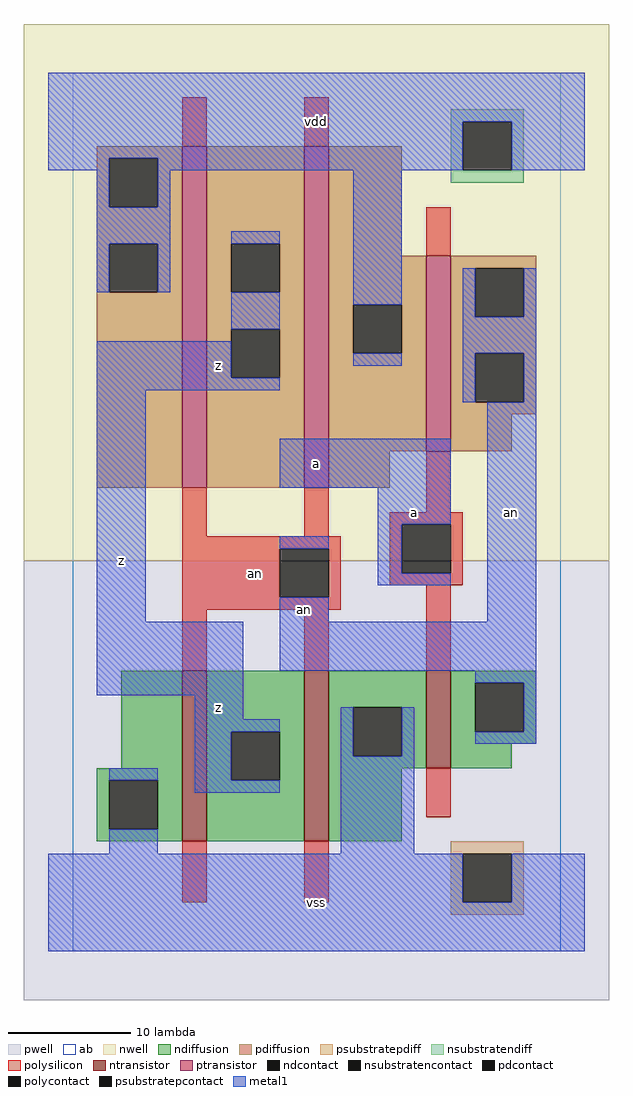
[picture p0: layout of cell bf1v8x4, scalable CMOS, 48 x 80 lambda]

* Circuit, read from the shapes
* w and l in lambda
.subckt bf1v8x4 a an vdd vss z
M1 z an vss vss nfet w=14 l=2 m=2
M2 an a vss vss nfet w=8 l=2
M3 z an vdd vdd pfet w=28 l=2 m=2
M4 an a vdd vdd pfet w=16 l=2
.ends

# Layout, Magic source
magic
tech scmos
<< ab >>
rect 0 0 40 72
<< pwell >>
rect -4 -4 44 32
<< nwell >>
rect -4 32 44 76
<< polysilicon >>
rect 9 66 11 70
rect 19 66 21 70
rect 29 57 31 61
rect 9 34 11 38
rect 19 34 21 38
rect 29 36 31 41
rect 26 35 32 36
rect 9 33 22 34
rect 9 29 17 33
rect 21 29 22 33
rect 26 31 27 35
rect 31 31 32 35
rect 26 30 32 31
rect 9 28 22 29
rect 9 23 11 28
rect 19 23 21 28
rect 29 23 31 30
rect 29 11 31 15
rect 9 4 11 9
rect 19 4 21 9
<< ndiffusion >>
rect 4 15 9 23
rect 2 14 9 15
rect 2 10 3 14
rect 7 10 9 14
rect 2 9 9 10
rect 11 18 19 23
rect 11 14 13 18
rect 17 14 19 18
rect 11 9 19 14
rect 21 20 29 23
rect 21 16 23 20
rect 27 16 29 20
rect 21 15 29 16
rect 31 22 38 23
rect 31 18 33 22
rect 37 18 38 22
rect 31 17 38 18
rect 31 15 36 17
rect 21 9 27 15
<< pdiffusion >>
rect 2 65 9 66
rect 2 61 3 65
rect 7 61 9 65
rect 2 58 9 61
rect 2 54 3 58
rect 7 54 9 58
rect 2 38 9 54
rect 11 58 19 66
rect 11 54 13 58
rect 17 54 19 58
rect 11 51 19 54
rect 11 47 13 51
rect 17 47 19 51
rect 11 38 19 47
rect 21 57 27 66
rect 21 53 29 57
rect 21 49 23 53
rect 27 49 29 53
rect 21 41 29 49
rect 31 56 38 57
rect 31 52 33 56
rect 37 52 38 56
rect 31 49 38 52
rect 31 45 33 49
rect 37 45 38 49
rect 31 44 38 45
rect 31 41 36 44
rect 21 38 26 41
<< metal1 >>
rect -2 68 42 72
rect -2 65 32 68
rect -2 64 3 65
rect 2 61 3 64
rect 7 64 32 65
rect 36 64 42 68
rect 7 61 8 64
rect 2 58 8 61
rect 2 54 3 58
rect 7 54 8 58
rect 13 58 17 59
rect 13 51 17 54
rect 2 47 13 50
rect 23 53 27 64
rect 23 48 27 49
rect 32 52 33 56
rect 37 52 38 56
rect 32 49 38 52
rect 2 46 17 47
rect 2 27 6 46
rect 32 45 33 49
rect 37 45 38 49
rect 17 38 31 42
rect 25 35 31 38
rect 17 33 21 34
rect 25 31 27 35
rect 25 30 31 31
rect 17 27 21 29
rect 34 27 38 45
rect 2 21 14 27
rect 17 23 38 27
rect 10 19 14 21
rect 33 22 38 23
rect 10 18 17 19
rect 3 14 7 15
rect 10 14 13 18
rect 10 13 17 14
rect 22 16 23 20
rect 27 16 28 20
rect 37 18 38 22
rect 33 17 38 18
rect 3 8 7 10
rect 22 8 28 16
rect -2 4 32 8
rect 36 4 42 8
rect -2 0 42 4
<< ntransistor >>
rect 9 9 11 23
rect 19 9 21 23
rect 29 15 31 23
<< ptransistor >>
rect 9 38 11 66
rect 19 38 21 66
rect 29 41 31 57
<< polycontact >>
rect 17 29 21 33
rect 27 31 31 35
<< ndcontact >>
rect 3 10 7 14
rect 13 14 17 18
rect 23 16 27 20
rect 33 18 37 22
<< pdcontact >>
rect 3 61 7 65
rect 3 54 7 58
rect 13 54 17 58
rect 13 47 17 51
rect 23 49 27 53
rect 33 52 37 56
rect 33 45 37 49
<< psubstratepcontact >>
rect 32 4 36 8
<< nsubstratencontact >>
rect 32 64 36 68
<< psubstratepdiff >>
rect 31 8 37 9
rect 31 4 32 8
rect 36 4 37 8
rect 31 3 37 4
<< nsubstratendiff >>
rect 31 68 37 69
rect 31 64 32 68
rect 36 64 37 68
rect 31 63 37 64
<< labels >>
rlabel polysilicon 15 31 15 31 6 an
rlabel metal1 4 32 4 32 6 z
rlabel metal1 12 20 12 20 6 z
rlabel metal1 12 48 12 48 6 z
rlabel metal1 20 4 20 4 6 vss
rlabel metal1 19 28 19 28 6 an
rlabel metal1 28 36 28 36 6 a
rlabel metal1 20 40 20 40 6 a
rlabel metal1 20 68 20 68 6 vdd
rlabel metal1 36 36 36 36 6 an
<< end >>
